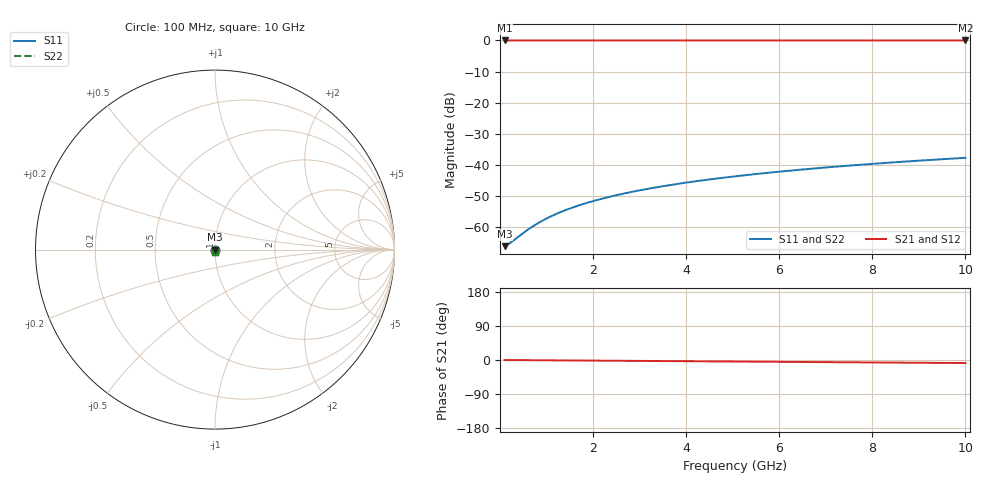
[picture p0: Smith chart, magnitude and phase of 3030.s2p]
# Hz S RI R 50.00
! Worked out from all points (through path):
!   100 points, 100 MHz to 10 GHz, reference 50 ohm
!   highest |S21| = 0.00 dB at 100 MHz (marker M1); lowest = 0.0 dB at 10 GHz (marker M2)
!   group delay of S21, straight-line fit = 2.24 ps
!   lowest |S11| = -66.1 dB at 100 MHz (marker M3), VSWR 1.00, Z = 50 - j0.0129 ohm
!   |S11| at or under -10 dB: start of sweep to end of sweep
!   |S22| runs from -66.1 to -37.7 dB; largest |S21 - S12| = 0
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1e8  0.000477 -0.000129  0.9995 -0.0014  0.9995 -0.0014  0.000477 -0.000129
2e8  0.000479 -0.000258  0.9995 -0.0028  0.9995 -0.0028  0.000479 -0.000258
6e8  0.000477 -0.000774  0.9995 -0.0084  0.9995 -0.0084  0.000477 -0.000774
7e8  0.000476 -0.000903  0.9995 -0.0098  0.9995 -0.0098  0.000476 -0.000903
9e8  0.000471 -0.00116  0.9994 -0.0126  0.9994 -0.0126  0.000471 -0.00116
1.1e9  0.000464 -0.00142  0.9994 -0.0154  0.9994 -0.0154  0.000464 -0.00142
1.3e9  0.000456 -0.00168  0.9993 -0.0182  0.9993 -0.0182  0.000456 -0.00168
1.5e9  0.000446 -0.00194  0.9993 -0.021  0.9993 -0.021  0.000446 -0.00194
1.8e9  0.000429 -0.00233  0.9992 -0.0252  0.9992 -0.0252  0.000429 -0.00233
2.1e9  0.000408 -0.00271  0.999 -0.0294  0.999 -0.0294  0.000408 -0.00271
2.5e9  0.000374 -0.00323  0.9989 -0.035  0.9989 -0.035  0.000374 -0.00323
2.9e9  0.000335 -0.00375  0.9986 -0.0406  0.9986 -0.0406  0.000335 -0.00375
3.4e9  0.000277 -0.0044  0.9983 -0.0477  0.9983 -0.0477  0.000277 -0.0044
3.8e9  0.000224 -0.00492  0.998 -0.0533  0.998 -0.0533  0.000224 -0.00492
4.2e9  0.000166 -0.00544  0.9977 -0.0589  0.9977 -0.0589  0.000166 -0.00544
4.6e9  0.000101 -0.00596  0.9973 -0.0645  0.9973 -0.0645  0.000101 -0.00596
5.1e9  1.19e-05 -0.00661  0.9969 -0.0715  0.9969 -0.0715  1.19e-05 -0.00661
5.9e9  -0.00015 -0.00764  0.996 -0.0827  0.996 -0.0827  -0.00015 -0.00764
6.7e9  -0.000335 -0.00868  0.995 -0.094  0.995 -0.094  -0.000335 -0.00868
7.5e9  -0.000545 -0.00971  0.9938 -0.1052  0.9938 -0.1052  -0.000545 -0.00971
8.4e9  -0.000808 -0.0109  0.9924 -0.1178  0.9924 -0.1178  -0.000808 -0.0109
1e10  -0.00135 -0.0129  0.9894 -0.1403  0.9894 -0.1403  -0.00135 -0.0129
